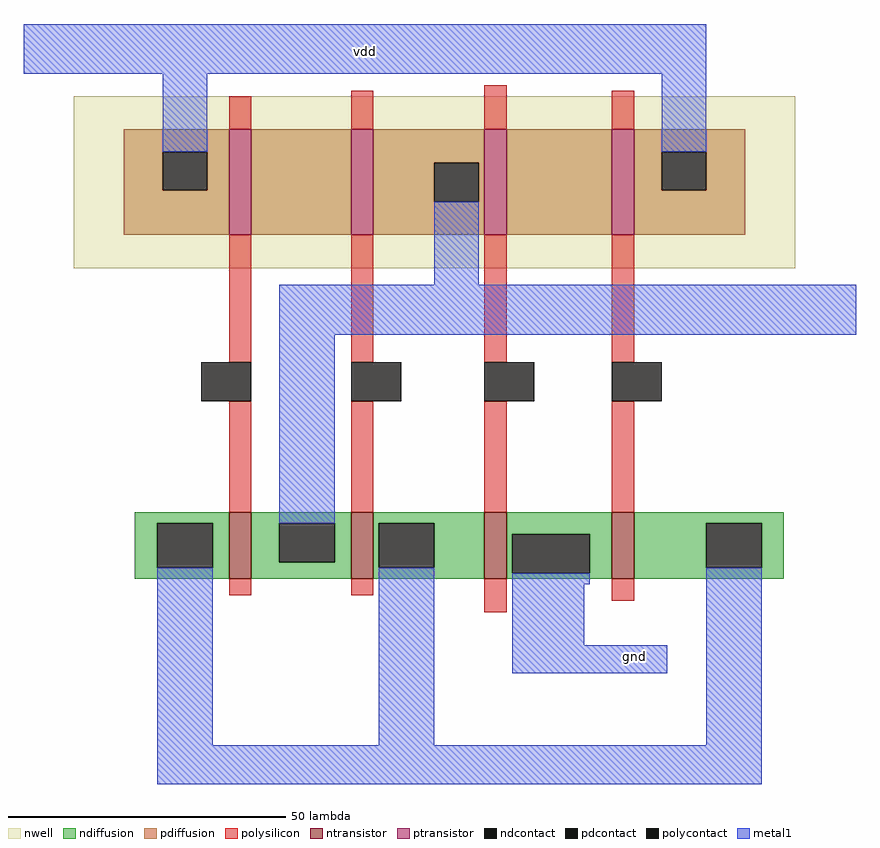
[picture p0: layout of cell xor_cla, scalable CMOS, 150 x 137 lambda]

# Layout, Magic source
magic
tech scmos
<< nwell >>
rect -72 13 58 44
<< polysilicon >>
rect -44 38 -40 44
rect -22 38 -18 45
rect 2 38 6 46
rect 25 38 29 45
rect -44 -4 -40 19
rect -44 -31 -40 -11
rect -22 -4 -18 19
rect 2 -4 6 19
rect 25 -4 29 19
rect -22 -31 -18 -11
rect 2 -31 6 -11
rect 25 -31 29 -11
rect -44 -46 -40 -43
rect -22 -46 -18 -43
rect 2 -49 6 -43
rect 25 -47 29 -43
<< ndiffusion >>
rect -61 -33 -44 -31
rect -61 -41 -57 -33
rect -47 -41 -44 -33
rect -61 -43 -44 -41
rect -40 -33 -22 -31
rect -40 -40 -35 -33
rect -25 -40 -22 -33
rect -40 -43 -22 -40
rect -18 -33 2 -31
rect -18 -41 -17 -33
rect -7 -41 2 -33
rect -18 -43 2 -41
rect 6 -35 25 -31
rect 6 -42 7 -35
rect 21 -42 25 -35
rect 6 -43 25 -42
rect 29 -33 56 -31
rect 29 -41 42 -33
rect 52 -41 56 -33
rect 29 -43 56 -41
<< pdiffusion >>
rect -63 34 -44 38
rect -63 27 -56 34
rect -48 27 -44 34
rect -63 19 -44 27
rect -40 19 -22 38
rect -18 32 2 38
rect -18 25 -7 32
rect 1 25 2 32
rect -18 19 2 25
rect 6 19 25 38
rect 29 34 49 38
rect 29 27 34 34
rect 42 27 49 34
rect 29 19 49 27
<< metal1 >>
rect -81 48 42 57
rect -56 34 -48 48
rect 34 34 42 48
rect -7 10 1 25
rect -35 1 69 10
rect -35 -33 -25 1
rect -57 -73 -47 -41
rect -17 -73 -7 -41
rect 7 -44 21 -42
rect 7 -55 20 -44
rect 7 -60 35 -55
rect 42 -73 52 -41
rect -57 -80 52 -73
<< ntransistor >>
rect -44 -43 -40 -31
rect -22 -43 -18 -31
rect 2 -43 6 -31
rect 25 -43 29 -31
<< ptransistor >>
rect -44 19 -40 38
rect -22 19 -18 38
rect 2 19 6 38
rect 25 19 29 38
<< polycontact >>
rect -49 -11 -40 -4
rect -22 -11 -13 -4
rect 2 -11 11 -4
rect 25 -11 34 -4
<< ndcontact >>
rect -57 -41 -47 -33
rect -35 -40 -25 -33
rect -17 -41 -7 -33
rect 7 -42 21 -35
rect 42 -41 52 -33
<< pdcontact >>
rect -56 27 -48 34
rect -7 25 1 32
rect 34 27 42 34
<< labels >>
rlabel metal1 -20 52 -19 52 5 vdd
rlabel metal1 29 -57 29 -57 1 gnd
<< end >>
